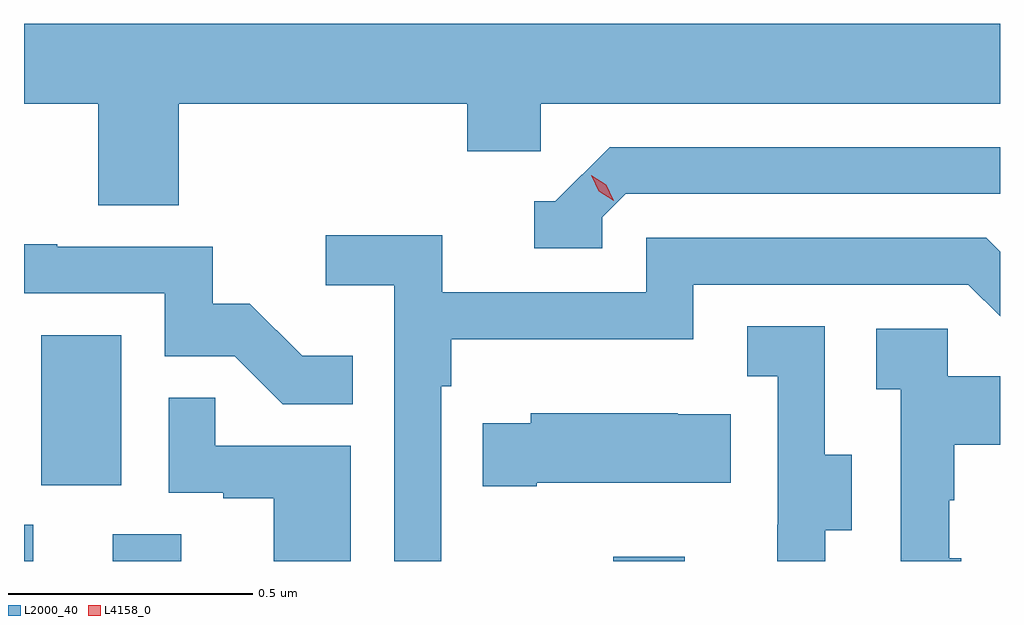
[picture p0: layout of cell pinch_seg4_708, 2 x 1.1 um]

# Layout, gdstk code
import gdstk
lib = gdstk.Library(unit=1e-6, precision=1e-09)
def R(c, l, rs):  # rectangles x0, y0, x1, y1
    for r in rs: c.add(gdstk.rectangle(r[:2], r[2:], *l))
def P(c, l, *ps):  # polygons
    for p in ps: c.add(gdstk.Polygon(p, *l))
L2000_40 = (2000, 40)
L4158_0 = (4158, 0)

pinch_seg4_708 = lib.new_cell('pinch_seg4_708')
R(pinch_seg4_708, L2000_40, [(1090.359,753.258,1090.378,753.333), (1090.541,753.258,1090.681,753.314), (1091.566,753.258,1091.713,753.268), (1090.394,753.414,1090.558,753.721)])
P(pinch_seg4_708, L2000_40, [(1090.676,754.196),(1091.267,754.196),(1091.267,754.098),(1091.418,754.098),(1091.418,754.196),(1092.359,754.196),(1092.359,754.36),(1090.359,754.36),(1090.359,754.196),(1090.511,754.196),(1090.511,753.988),(1090.676,753.988)],
  [(1091.544,753.963),(1091.592,754.011),(1092.359,754.011),(1092.359,754.107),(1091.559,754.107),(1091.448,753.996),(1091.405,753.996),(1091.405,753.9),(1091.544,753.9)],
  [(1091.214,753.617),(1091.234,753.617),(1091.234,753.713),(1091.73,753.713),(1091.73,753.825),(1092.294,753.825),(1092.359,753.76),(1092.359,753.893),(1092.331,753.921),(1091.634,753.921),(1091.634,753.81),(1091.216,753.81),(1091.216,753.926),(1090.977,753.926),(1090.977,753.824),(1091.118,753.824),(1091.118,753.258),(1091.214,753.258)],
  [(1091.033,753.679),(1090.929,753.679),(1090.822,753.786),(1090.746,753.786),(1090.746,753.903),(1090.427,753.903),(1090.427,753.908),(1090.359,753.908),(1090.359,753.807),(1090.647,753.807),(1090.647,753.678),(1090.791,753.678),(1090.889,753.58),(1091.033,753.58)],
  [(1092.001,753.322),(1092.055,753.322),(1092.055,753.477),(1092,753.477),(1092,753.74),(1091.841,753.74),(1091.841,753.637),(1091.904,753.637),(1091.904,753.333),(1091.903,753.333),(1091.903,753.258),(1092.001,753.258)],
  [(1092.28,753.264),(1092.255,753.264),(1092.255,753.383),(1092.265,753.383),(1092.265,753.497),(1092.359,753.497),(1092.359,753.637),(1092.252,753.637),(1092.252,753.735),(1092.105,753.735),(1092.105,753.611),(1092.156,753.611),(1092.156,753.258),(1092.28,753.258)],
  [(1091.029,753.495),(1090.751,753.495),(1090.751,753.593),(1090.656,753.593),(1090.656,753.399),(1090.767,753.399),(1090.767,753.387),(1090.871,753.387),(1090.871,753.258),(1091.029,753.258)],
  [(1091.41,753.419),(1091.807,753.419),(1091.807,753.559),(1091.699,753.559),(1091.699,753.562),(1091.397,753.562),(1091.397,753.541),(1091.299,753.541),(1091.299,753.412),(1091.41,753.412)])
P(pinch_seg4_708, L4158_0, [(1091.567,753.997),(1091.537,754.016),(1091.521,754.049),(1091.521,754.049),(1091.521,754.049),(1091.552,754.03),(1091.568,753.997),(1091.568,753.997)])

lib.write_gds('pinch_seg4_708.gds')
